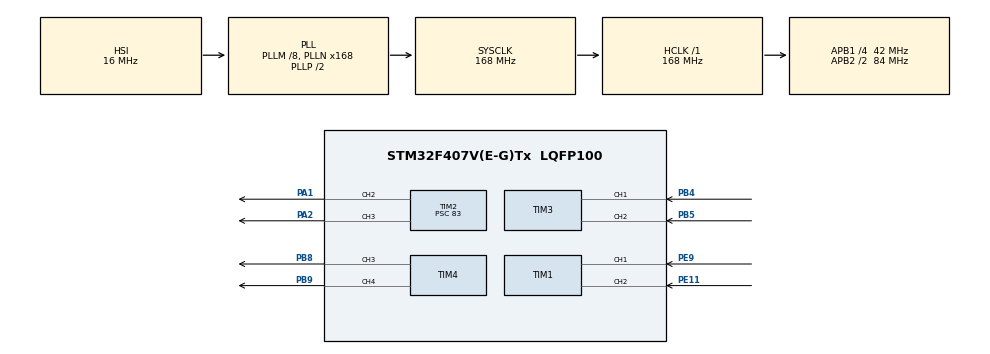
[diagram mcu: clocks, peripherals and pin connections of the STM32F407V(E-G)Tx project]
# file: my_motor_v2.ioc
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Mcu.Family=STM32F4
Mcu.Name=STM32F407V(E-G)Tx
Mcu.Package=LQFP100
NVIC.PriorityGroup=NVIC_PRIORITYGROUP_0
PA1.Signal=S_TIM2_CH2
PA2.Signal=S_TIM2_CH3
PB4.Signal=S_TIM3_CH1
PB5.Signal=S_TIM3_CH2
PB8.Signal=S_TIM4_CH3
PB9.Signal=S_TIM4_CH4
PE11.Signal=S_TIM1_CH2
PE9.Signal=S_TIM1_CH1
ProjectManager.HeapSize=0x200
ProjectManager.StackSize=0x400
ProjectManager.TargetToolchain=STM32CubeIDE
RCC.48MHZClocksFreq_Value=48000000
RCC.AHBFreq_Value=168000000
RCC.APB1CLKDivider=RCC_HCLK_DIV4
RCC.APB1Freq_Value=42000000
RCC.APB1TimFreq_Value=84000000
RCC.APB2CLKDivider=RCC_HCLK_DIV2
RCC.APB2Freq_Value=84000000
RCC.APB2TimFreq_Value=168000000
RCC.CortexFreq_Value=168000000
RCC.HCLKFreq_Value=168000000
RCC.HSE_VALUE=8000000
RCC.HSI_VALUE=16000000
RCC.LSE_VALUE=32768
RCC.PLLM=8
RCC.PLLN=168
RCC.PLLQ=7
RCC.SYSCLKFreq_VALUE=168000000
RCC.SYSCLKSource=RCC_SYSCLKSOURCE_PLLCLK
RCC.VCOOutputFreq_Value=336000000
SH.S_TIM1_CH1.0=TIM1_CH1,Encoder_Interface
SH.S_TIM1_CH2.0=TIM1_CH2,Encoder_Interface
SH.S_TIM2_CH2.0=TIM2_CH2,PWM Generation2 CH2
SH.S_TIM2_CH3.0=TIM2_CH3,PWM Generation3 CH3
SH.S_TIM3_CH1.0=TIM3_CH1,Encoder_Interface
SH.S_TIM3_CH2.0=TIM3_CH2,Encoder_Interface
SH.S_TIM4_CH3.0=TIM4_CH3,PWM Generation3 CH3
SH.S_TIM4_CH4.0=TIM4_CH4,PWM Generation4 CH4
TIM2.Channel-PWM\ Generation2\ CH2=TIM_CHANNEL_2
TIM2.Channel-PWM\ Generation3\ CH3=TIM_CHANNEL_3
TIM2.Period=1999
TIM2.Prescaler=83
TIM4.Channel-PWM\ Generation3\ CH3=TIM_CHANNEL_3
TIM4.Channel-PWM\ Generation4\ CH4=TIM_CHANNEL_4
VP_TIM2_VS_ClockSourceINT.Mode=Internal
board=STM32F407G-DISC1

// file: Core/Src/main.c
/* USER CODE BEGIN Header */
/**
  ******************************************************************************
  * @file           : main.c
  * @brief          : Main program body
  ******************************************************************************
  * @attention
  *
  * Copyright (c) 2025 STMicroelectronics.
  * All rights reserved.
  *
  * This software is licensed under terms that can be found in the LICENSE file
  * in the root directory of this software component.
  * If no LICENSE file comes with this software, it is provided AS-IS.
  *
  ******************************************************************************
  */
/* USER CODE END Header */
#include "main.h"

/* USER CODE BEGIN Includes */
#include "stdio.h"
#include "stm32f4xx_hal_conf.h"
#include <stdio.h>
#include <stdlib.h>
#include <math.h>

/* USER CODE END Includes */

TIM_HandleTypeDef htim1;
TIM_HandleTypeDef htim2;
TIM_HandleTypeDef htim3;
TIM_HandleTypeDef htim4;

/* USER CODE BEGIN PV */
#define SAMPLE_TIME_MS 100   // thời gian lấy mẫu 100ms
#define PPR_A 13             // số xung mỗi vòng encoder A
#define PPR_B 13             // số xung mỗi vòng encoder B

static float omegaA = 0;
static float omegaB = 0;

static int32_t encA_last = 0;
static int32_t encB_last = 0;

/* USER CODE END PV */

void SystemClock_Config(void);
static void MX_GPIO_Init(void);
static void MX_TIM2_Init(void);
static void MX_TIM3_Init(void);
static void MX_TIM1_Init(void);
static void MX_TIM4_Init(void);

/* USER CODE BEGIN 0 */

// Hàm khởi động PWM và Encoder
void Motor_Init(void)
{
  // PWM Motor A: TIM2 CH2, CH3
  HAL_TIM_PWM_Start(&htim2, TIM_CHANNEL_2);
  HAL_TIM_PWM_Start(&htim2, TIM_CHANNEL_3);

  // PWM Motor B: TIM4 CH3, CH4
  HAL_TIM_PWM_Start(&htim4, TIM_CHANNEL_3);
  HAL_TIM_PWM_Start(&htim4, TIM_CHANNEL_4);

  // Encoder A: TIM3
  HAL_TIM_Encoder_Start(&htim3, TIM_CHANNEL_ALL);

  // Encoder B: TIM1
  HAL_TIM_Encoder_Start(&htim1, TIM_CHANNEL_ALL);
}

// Hàm set tốc độ cho Motor A
// speed_percent: -100..+100 (%)
void MotorA_SetSpeed(int speed_percent)
{
  uint32_t duty = (abs(speed_percent) * __HAL_TIM_GET_AUTORELOAD(&htim2)) / 100;
  if (speed_percent >= 0) {
    __HAL_TIM_SET_COMPARE(&htim2, TIM_CHANNEL_2, duty);
    __HAL_TIM_SET_COMPARE(&htim2, TIM_CHANNEL_3, 0);
  } else {
    __HAL_TIM_SET_COMPARE(&htim2, TIM_CHANNEL_2, 0);
    __HAL_TIM_SET_COMPARE(&htim2, TIM_CHANNEL_3, duty);
  }
}

// Hàm set tốc độ cho Motor B
void MotorB_SetSpeed(int speed_percent)
{
  uint32_t duty = (abs(speed_percent) * __HAL_TIM_GET_AUTORELOAD(&htim4)) / 100;
  if (speed_percent >= 0) {
    __HAL_TIM_SET_COMPARE(&htim4, TIM_CHANNEL_3, duty);
    __HAL_TIM_SET_COMPARE(&htim4, TIM_CHANNEL_4, 0);
  } else {
    __HAL_TIM_SET_COMPARE(&htim4, TIM_CHANNEL_3, 0);
    __HAL_TIM_SET_COMPARE(&htim4, TIM_CHANNEL_4, duty);
  }
}

// Hàm cập nhật tốc độ góc từ encoder
void Update_Encoder_Speeds(void)
{
  int32_t encA = __HAL_TIM_GET_COUNTER(&htim3);
  int32_t encB = __HAL_TIM_GET_COUNTER(&htim1);

  int32_t dA = encA - encA_last;
  int32_t dB = encB - encB_last;
  encA_last = encA;
  encB_last = encB;

  float dt = SAMPLE_TIME_MS / 1000.0f;
  omegaA = (2.0f * M_PI * dA) / (PPR_A * dt);
  omegaB = (2.0f * M_PI * dB) / (PPR_B * dt);
}

/* USER CODE END 0 */

int main(void)
{

  /* MCU Configuration--------------------------------------------------------*/

  /* Reset of all peripherals, Initializes the Flash interface and the Systick. */

  /* USER CODE BEGIN Init */
  HAL_Init();
  SystemClock_Config();
  MX_GPIO_Init();
  MX_TIM2_Init();
  MX_TIM3_Init();
  MX_TIM4_Init();
  MX_TIM1_Init();
 // MX_USART2_UART_Init(); // nếu muốn in ra UART

  Motor_Init();

  /* USER CODE END Init */

  /* Configure the system clock */

  /* Initialize all configured peripherals */

  /* USER CODE BEGIN 2 */

  HAL_TIM_PWM_Start(&htim2, TIM_CHANNEL_1);
  HAL_TIM_PWM_Start(&htim2, TIM_CHANNEL_2);
  HAL_TIM_PWM_Start(&htim2, TIM_CHANNEL_3);
  HAL_TIM_PWM_Start(&htim2, TIM_CHANNEL_4);
  HAL_TIM_Encoder_Start(&htim3, TIM_CHANNEL_ALL);

  /* USER CODE END 2 */

  /* Infinite loop */
  while (1)
  {
	    // Ví dụ: Motor A chạy thuận 50%, Motor B chạy nghịch 30%
	    MotorA_SetSpeed(50);
	    MotorB_SetSpeed(-30);

	    // Cập nhật tốc độ góc
	    Update_Encoder_Speeds();

	    HAL_Delay(SAMPLE_TIME_MS);

  }
}

void SystemClock_Config(void)
{
  RCC_OscInitTypeDef RCC_OscInitStruct = {0};
  RCC_ClkInitTypeDef RCC_ClkInitStruct = {0};

  /** Configure the main internal regulator output voltage
  */
  __HAL_RCC_PWR_CLK_ENABLE();
  __HAL_PWR_VOLTAGESCALING_CONFIG(PWR_REGULATOR_VOLTAGE_SCALE1);

  /** Initializes the RCC Oscillators according to the specified parameters
  * in the RCC_OscInitTypeDef structure.
  */
  RCC_OscInitStruct.OscillatorType = RCC_OSCILLATORTYPE_HSI;
  RCC_OscInitStruct.HSIState = RCC_HSI_ON;
  RCC_OscInitStruct.HSICalibrationValue = RCC_HSICALIBRATION_DEFAULT;
  RCC_OscInitStruct.PLL.PLLState = RCC_PLL_ON;
  RCC_OscInitStruct.PLL.PLLSource = RCC_PLLSOURCE_HSI;
  RCC_OscInitStruct.PLL.PLLM = 8;
  RCC_OscInitStruct.PLL.PLLN = 168;
  RCC_OscInitStruct.PLL.PLLP = RCC_PLLP_DIV2;
  RCC_OscInitStruct.PLL.PLLQ = 7;
  if (HAL_RCC_OscConfig(&RCC_OscInitStruct) != HAL_OK)
  {
    Error_Handler();
  }

  /** Initializes the CPU, AHB and APB buses clocks
  */
  RCC_ClkInitStruct.ClockType = RCC_CLOCKTYPE_HCLK|RCC_CLOCKTYPE_SYSCLK
                              |RCC_CLOCKTYPE_PCLK1|RCC_CLOCKTYPE_PCLK2;
  RCC_ClkInitStruct.SYSCLKSource = RCC_SYSCLKSOURCE_PLLCLK;
  RCC_ClkInitStruct.AHBCLKDivider = RCC_SYSCLK_DIV1;
  RCC_ClkInitStruct.APB1CLKDivider = RCC_HCLK_DIV4;
  RCC_ClkInitStruct.APB2CLKDivider = RCC_HCLK_DIV2;

  if (HAL_RCC_ClockConfig(&RCC_ClkInitStruct, FLASH_LATENCY_5) != HAL_OK)
  {
    Error_Handler();
  }
}

static void MX_TIM1_Init(void)
{

  TIM_Encoder_InitTypeDef sConfig = {0};
  TIM_MasterConfigTypeDef sMasterConfig = {0};

  htim1.Instance = TIM1;
  htim1.Init.Prescaler = 0;
  htim1.Init.CounterMode = TIM_COUNTERMODE_UP;
  htim1.Init.Period = 65535;
  htim1.Init.ClockDivision = TIM_CLOCKDIVISION_DIV1;
  htim1.Init.RepetitionCounter = 0;
  htim1.Init.AutoReloadPreload = TIM_AUTORELOAD_PRELOAD_DISABLE;
  sConfig.EncoderMode = TIM_ENCODERMODE_TI1;
  sConfig.IC1Polarity = TIM_ICPOLARITY_RISING;
  sConfig.IC1Selection = TIM_ICSELECTION_DIRECTTI;
  sConfig.IC1Prescaler = TIM_ICPSC_DIV1;
  sConfig.IC1Filter = 0;
  sConfig.IC2Polarity = TIM_ICPOLARITY_RISING;
  sConfig.IC2Selection = TIM_ICSELECTION_DIRECTTI;
  sConfig.IC2Prescaler = TIM_ICPSC_DIV1;
  sConfig.IC2Filter = 0;
  if (HAL_TIM_Encoder_Init(&htim1, &sConfig) != HAL_OK)
  {
    Error_Handler();
  }
  sMasterConfig.MasterOutputTrigger = TIM_TRGO_RESET;
  sMasterConfig.MasterSlaveMode = TIM_MASTERSLAVEMODE_DISABLE;
  if (HAL_TIMEx_MasterConfigSynchronization(&htim1, &sMasterConfig) != HAL_OK)
  {
    Error_Handler();
  }

}

static void MX_TIM2_Init(void)
{

  TIM_ClockConfigTypeDef sClockSourceConfig = {0};
  TIM_MasterConfigTypeDef sMasterConfig = {0};
  TIM_OC_InitTypeDef sConfigOC = {0};

  htim2.Instance = TIM2;
  htim2.Init.Prescaler = 83;
  htim2.Init.CounterMode = TIM_COUNTERMODE_UP;
  htim2.Init.Period = 1999;
  htim2.Init.ClockDivision = TIM_CLOCKDIVISION_DIV1;
  htim2.Init.AutoReloadPreload = TIM_AUTORELOAD_PRELOAD_DISABLE;
  if (HAL_TIM_Base_Init(&htim2) != HAL_OK)
  {
    Error_Handler();
  }
  sClockSourceConfig.ClockSource = TIM_CLOCKSOURCE_INTERNAL;
  if (HAL_TIM_ConfigClockSource(&htim2, &sClockSourceConfig) != HAL_OK)
  {
    Error_Handler();
  }
  if (HAL_TIM_PWM_Init(&htim2) != HAL_OK)
  {
    Error_Handler();
  }
  sMasterConfig.MasterOutputTrigger = TIM_TRGO_RESET;
  sMasterConfig.MasterSlaveMode = TIM_MASTERSLAVEMODE_DISABLE;
  if (HAL_TIMEx_MasterConfigSynchronization(&htim2, &sMasterConfig) != HAL_OK)
  {
    Error_Handler();
  }
  sConfigOC.OCMode = TIM_OCMODE_PWM1;
  sConfigOC.Pulse = 0;
  sConfigOC.OCPolarity = TIM_OCPOLARITY_HIGH;
  sConfigOC.OCFastMode = TIM_OCFAST_DISABLE;
  if (HAL_TIM_PWM_ConfigChannel(&htim2, &sConfigOC, TIM_CHANNEL_2) != HAL_OK)
  {
    Error_Handler();
  }
  if (HAL_TIM_PWM_ConfigChannel(&htim2, &sConfigOC, TIM_CHANNEL_3) != HAL_OK)
  {
    Error_Handler();
  }
  HAL_TIM_MspPostInit(&htim2);

}

static void MX_TIM3_Init(void)
{

  TIM_Encoder_InitTypeDef sConfig = {0};
  TIM_MasterConfigTypeDef sMasterConfig = {0};

  htim3.Instance = TIM3;
  htim3.Init.Prescaler = 0;
  htim3.Init.CounterMode = TIM_COUNTERMODE_UP;
  htim3.Init.Period = 65535;
  htim3.Init.ClockDivision = TIM_CLOCKDIVISION_DIV1;
  htim3.Init.AutoReloadPreload = TIM_AUTORELOAD_PRELOAD_DISABLE;
  sConfig.EncoderMode = TIM_ENCODERMODE_TI1;
  sConfig.IC1Polarity = TIM_ICPOLARITY_RISING;
  sConfig.IC1Selection = TIM_ICSELECTION_DIRECTTI;
  sConfig.IC1Prescaler = TIM_ICPSC_DIV1;
  sConfig.IC1Filter = 0;
  sConfig.IC2Polarity = TIM_ICPOLARITY_RISING;
  sConfig.IC2Selection = TIM_ICSELECTION_DIRECTTI;
  sConfig.IC2Prescaler = TIM_ICPSC_DIV1;
  sConfig.IC2Filter = 0;
  if (HAL_TIM_Encoder_Init(&htim3, &sConfig) != HAL_OK)
  {
    Error_Handler();
  }
  sMasterConfig.MasterOutputTrigger = TIM_TRGO_RESET;
  sMasterConfig.MasterSlaveMode = TIM_MASTERSLAVEMODE_DISABLE;
  if (HAL_TIMEx_MasterConfigSynchronization(&htim3, &sMasterConfig) != HAL_OK)
  {
    Error_Handler();
  }

}

static void MX_TIM4_Init(void)
{

  TIM_MasterConfigTypeDef sMasterConfig = {0};
  TIM_OC_InitTypeDef sConfigOC = {0};

  htim4.Instance = TIM4;
  htim4.Init.Prescaler = 0;
  htim4.Init.CounterMode = TIM_COUNTERMODE_UP;
  htim4.Init.Period = 65535;
  htim4.Init.ClockDivision = TIM_CLOCKDIVISION_DIV1;
  htim4.Init.AutoReloadPreload = TIM_AUTORELOAD_PRELOAD_DISABLE;
  if (HAL_TIM_PWM_Init(&htim4) != HAL_OK)
  {
    Error_Handler();
  }
  sMasterConfig.MasterOutputTrigger = TIM_TRGO_RESET;
  sMasterConfig.MasterSlaveMode = TIM_MASTERSLAVEMODE_DISABLE;
  if (HAL_TIMEx_MasterConfigSynchronization(&htim4, &sMasterConfig) != HAL_OK)
  {
    Error_Handler();
  }
  sConfigOC.OCMode = TIM_OCMODE_PWM1;
  sConfigOC.Pulse = 0;
  sConfigOC.OCPolarity = TIM_OCPOLARITY_HIGH;
  sConfigOC.OCFastMode = TIM_OCFAST_DISABLE;
  if (HAL_TIM_PWM_ConfigChannel(&htim4, &sConfigOC, TIM_CHANNEL_3) != HAL_OK)
  {
    Error_Handler();
  }
  if (HAL_TIM_PWM_ConfigChannel(&htim4, &sConfigOC, TIM_CHANNEL_4) != HAL_OK)
  {
    Error_Handler();
  }
  HAL_TIM_MspPostInit(&htim4);

}

static void MX_GPIO_Init(void)
{

  /* GPIO Ports Clock Enable */
  __HAL_RCC_GPIOA_CLK_ENABLE();
  __HAL_RCC_GPIOE_CLK_ENABLE();
  __HAL_RCC_GPIOB_CLK_ENABLE();

}

void Error_Handler(void)
{
  __disable_irq();
  while (1)
  {
  }
}
